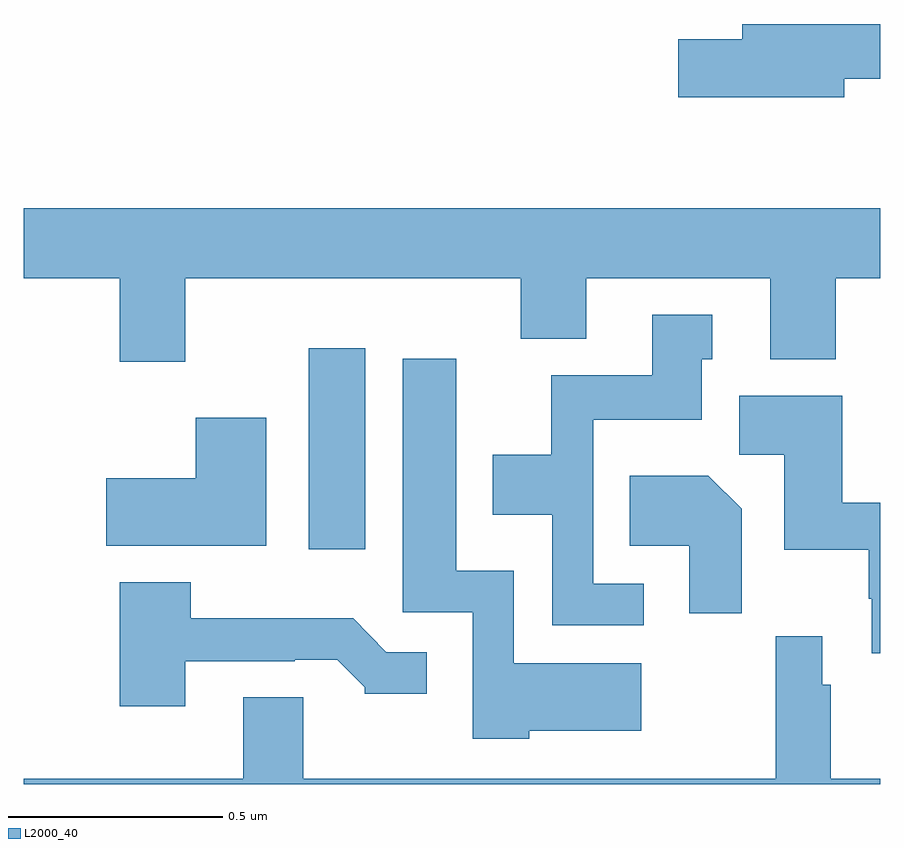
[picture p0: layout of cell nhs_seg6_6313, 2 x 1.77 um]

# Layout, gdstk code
import gdstk
lib = gdstk.Library(unit=1e-6, precision=1e-09)
def R(c, l, rs):  # rectangles x0, y0, x1, y1
    for r in rs: c.add(gdstk.rectangle(r[:2], r[2:], *l))
def P(c, l, *ps):  # polygons
    for p in ps: c.add(gdstk.Polygon(p, *l))
L2000_40 = (2000, 40)

nhs_seg6_6313 = lib.new_cell('nhs_seg6_6313')
R(nhs_seg6_6313, L2000_40, [(194.666,936.048,194.797,936.517)])
P(nhs_seg6_6313, L2000_40, [(195.916,937.146),(196,937.146),(196,937.274),(195.677,937.274),(195.677,937.238),(195.528,937.238),(195.528,937.103),(195.916,937.103)],
  [(194.377,936.68),(195.161,936.68),(195.161,936.539),(195.313,936.539),(195.313,936.68),(195.743,936.68),(195.743,936.491),(195.896,936.491),(195.896,936.68),(196,936.68),(196,936.844),(194,936.844),(194,936.68),(194.225,936.68),(194.225,936.486),(194.377,936.486)],
  [(195.448,935.967),(195.33,935.967),(195.33,936.35),(195.583,936.35),(195.583,936.492),(195.607,936.492),(195.607,936.595),(195.467,936.595),(195.467,936.454),(195.232,936.454),(195.232,936.268),(195.095,936.268),(195.095,936.128),(195.234,936.128),(195.234,935.871),(195.448,935.871)],
  [(195.18,935.624),(195.442,935.624),(195.442,935.782),(195.144,935.782),(195.144,935.998),(195.01,935.998),(195.01,936.493),(194.885,936.493),(194.885,935.901),(195.048,935.901),(195.048,935.606),(195.18,935.606)],
  [(196,936.157),(195.911,936.157),(195.911,936.406),(195.671,936.406),(195.671,936.268),(195.776,936.268),(195.776,936.047),(195.973,936.047),(195.973,935.932),(195.98,935.932),(195.98,935.805),(196,935.805)],
  [(194.566,936.355),(194.402,936.355),(194.402,936.214),(194.193,936.214),(194.193,936.056),(194.566,936.056)],
  [(195.676,936.142),(195.598,936.22),(195.415,936.22),(195.415,936.056),(195.554,936.056),(195.554,935.898),(195.676,935.898)],
  [(194.377,935.787),(194.633,935.787),(194.633,935.79),(194.732,935.79),(194.796,935.726),(194.796,935.711),(194.941,935.711),(194.941,935.808),(194.847,935.808),(194.769,935.887),(194.39,935.887),(194.39,935.971),(194.225,935.971),(194.225,935.682),(194.377,935.682)],
  [(196,935.512),(195.884,935.512),(195.884,935.732),(195.864,935.732),(195.864,935.845),(195.756,935.845),(195.756,935.512),(194.653,935.512),(194.653,935.702),(194.513,935.702),(194.513,935.512),(194,935.512),(194,935.5),(196,935.5)])

lib.write_gds('nhs_seg6_6313.gds')
